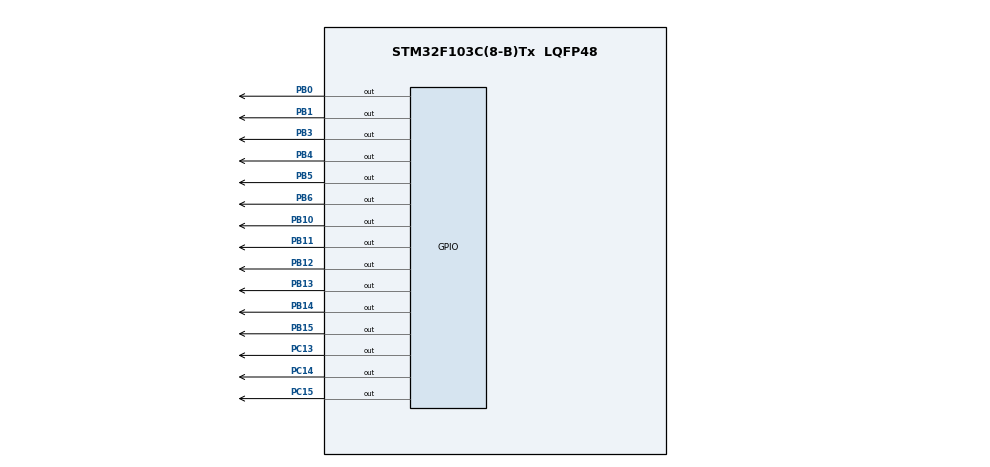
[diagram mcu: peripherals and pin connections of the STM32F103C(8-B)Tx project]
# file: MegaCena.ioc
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Mcu.Family=STM32F1
Mcu.Name=STM32F103C(8-B)Tx
Mcu.Package=LQFP48
NVIC.PriorityGroup=NVIC_PRIORITYGROUP_4
PA13.Mode=Serial_Wire
PA13.Signal=SYS_JTMS-SWDIO
PA14.Mode=Serial_Wire
PA14.Signal=SYS_JTCK-SWCLK
PB0.Signal=GPIO_Output
PB1.Signal=GPIO_Output
PB10.Signal=GPIO_Output
PB11.Signal=GPIO_Output
PB12.Signal=GPIO_Output
PB13.Signal=GPIO_Output
PB14.Signal=GPIO_Output
PB15.Signal=GPIO_Output
PB3.Signal=GPIO_Output
PB4.Signal=GPIO_Output
PB5.Signal=GPIO_Output
PB6.Signal=GPIO_Output
PC13-TAMPER-RTC.Signal=GPIO_Output
PC14-OSC32_IN.Signal=GPIO_Output
PC15-OSC32_OUT.Signal=GPIO_Output
ProjectManager.HeapSize=0x200
ProjectManager.StackSize=0x400
ProjectManager.TargetToolchain=STM32CubeIDE
RCC.APB1Freq_Value=8000000
RCC.APB2Freq_Value=8000000
board=custom

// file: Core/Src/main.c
/* USER CODE BEGIN Header */
/**
  ******************************************************************************
  * @file           : main.c
  * @brief          : Main program body
  ******************************************************************************
  * @attention
  *
  * <h2><center>&copy; Copyright (c) 2023 STMicroelectronics.
  * All rights reserved.</center></h2>
  *
  * This software component is licensed by ST under BSD 3-Clause license,
  * the "License"; You may not use this file except in compliance with the
  * License. You may obtain a copy of the License at:
  *                        opensource.org/licenses/BSD-3-Clause
  *
  ******************************************************************************
  */
/* USER CODE END Header */
#include "main.h"

/* USER CODE BEGIN PM */
#define G1G GPIO_PIN_5
#define G1F GPIO_PIN_6
#define G1A GPIO_PIN_4
#define G1B GPIO_PIN_3
#define G1E GPIO_PIN_14
#define G1D GPIO_PIN_15
#define G1C GPIO_PIN_0
//pinos 2
#define G2G GPIO_PIN_5
#define G2F GPIO_PIN_6
#define G2A GPIO_PIN_4
#define G2B GPIO_PIN_3
#define G2E GPIO_PIN_14
#define G2D GPIO_PIN_15
#define G2C GPIO_PIN_0
/* USER CODE END PM */

void SystemClock_Config(void);
static void MX_GPIO_Init(void);

int main(void)
{

  /* MCU Configuration--------------------------------------------------------*/

  /* Reset of all peripherals, Initializes the Flash interface and the Systick. */
  HAL_Init();

  /* Configure the system clock */
  SystemClock_Config();

  /* Initialize all configured peripherals */
  MX_GPIO_Init();

  /* Infinite loop */
  /* USER CODE BEGIN WHILE */
  int SorteioReal[60]={1,2,3,4,5,6,7,8,9,10,11,12,13,14,15,16,17,18,19,20,21,22,23,24,25,26,27,28,29,30,31,32,33,34,35,36,37,38,39,40,41,42,43,44,45,46,47,48,49,50,51,52,52,53,54,56,57,58,59,60};
   int sortear6vezes =6;
   int diminui_indice = 60;

   while (sortear6vezes>0)
   {
 	  int num = rand();
 	 	  int sorteado = num%diminui_indice;
 	  for(int i = sorteado;i<diminui_indice; i++){
 		  SorteioReal[i] = SorteioReal[i++];

 	  }
 	  printf(sorteado);
 	  	int NumeroDisplay = 0;
 	  	NumeroDisplay = SorteioReal[sorteado];
 	  	int unidade = NumeroDisplay%10;
 	  	int dezena = NumeroDisplay/10;
 	  	Mostra_NumeroD(dezena);
 	  	Mostra_NumeroU(unidade);
 	  	HAL_Delay(1500);
 	  	diminui_indice --;
 	  	sortear6vezes--;

   }

    /* USER CODE END WHILE */

//Mostra_NumeroU(1);
//HAL_Delay(1000);
//Mostra_NumeroU(2);
//Mostra_NumeroD(0);
//HAL_Delay(1000);
//Mostra_NumeroU(3);
//Mostra_NumeroD(0);
//HAL_Delay(1000);

}

void SystemClock_Config(void)
{
  RCC_OscInitTypeDef RCC_OscInitStruct = {0};
  RCC_ClkInitTypeDef RCC_ClkInitStruct = {0};

  /** Initializes the RCC Oscillators according to the specified parameters
  * in the RCC_OscInitTypeDef structure.
  */
  RCC_OscInitStruct.OscillatorType = RCC_OSCILLATORTYPE_HSI;
  RCC_OscInitStruct.HSIState = RCC_HSI_ON;
  RCC_OscInitStruct.HSICalibrationValue = RCC_HSICALIBRATION_DEFAULT;
  RCC_OscInitStruct.PLL.PLLState = RCC_PLL_NONE;
  if (HAL_RCC_OscConfig(&RCC_OscInitStruct) != HAL_OK)
  {
    Error_Handler();
  }
  /** Initializes the CPU, AHB and APB buses clocks
  */
  RCC_ClkInitStruct.ClockType = RCC_CLOCKTYPE_HCLK|RCC_CLOCKTYPE_SYSCLK
                              |RCC_CLOCKTYPE_PCLK1|RCC_CLOCKTYPE_PCLK2;
  RCC_ClkInitStruct.SYSCLKSource = RCC_SYSCLKSOURCE_HSI;
  RCC_ClkInitStruct.AHBCLKDivider = RCC_SYSCLK_DIV1;
  RCC_ClkInitStruct.APB1CLKDivider = RCC_HCLK_DIV1;
  RCC_ClkInitStruct.APB2CLKDivider = RCC_HCLK_DIV1;

  if (HAL_RCC_ClockConfig(&RCC_ClkInitStruct, FLASH_LATENCY_0) != HAL_OK)
  {
    Error_Handler();
  }
}

static void MX_GPIO_Init(void)
{
  GPIO_InitTypeDef GPIO_InitStruct = {0};

  /* GPIO Ports Clock Enable */
  __HAL_RCC_GPIOC_CLK_ENABLE();
  __HAL_RCC_GPIOB_CLK_ENABLE();
  __HAL_RCC_GPIOA_CLK_ENABLE();

  /*Configure GPIO pin Output Level */
  HAL_GPIO_WritePin(GPIOC, GPIO_PIN_13|GPIO_PIN_14|GPIO_PIN_15, GPIO_PIN_RESET);

  /*Configure GPIO pin Output Level */
  HAL_GPIO_WritePin(GPIOB, GPIO_PIN_0|GPIO_PIN_1|GPIO_PIN_10|GPIO_PIN_11
                          |GPIO_PIN_12|GPIO_PIN_13|GPIO_PIN_14|GPIO_PIN_15
                          |GPIO_PIN_3|GPIO_PIN_4|GPIO_PIN_5|GPIO_PIN_6, GPIO_PIN_RESET);

  /*Configure GPIO pins : PC13 PC14 PC15 */
  GPIO_InitStruct.Pin = GPIO_PIN_13|GPIO_PIN_14|GPIO_PIN_15;
  GPIO_InitStruct.Mode = GPIO_MODE_OUTPUT_PP;
  GPIO_InitStruct.Pull = GPIO_NOPULL;
  GPIO_InitStruct.Speed = GPIO_SPEED_FREQ_LOW;
  HAL_GPIO_Init(GPIOC, &GPIO_InitStruct);

  /*Configure GPIO pins : PB0 PB1 PB10 PB11
                           PB12 PB13 PB14 PB15
                           PB3 PB4 PB5 PB6 */
  GPIO_InitStruct.Pin = GPIO_PIN_0|GPIO_PIN_1|GPIO_PIN_10|GPIO_PIN_11
                          |GPIO_PIN_12|GPIO_PIN_13|GPIO_PIN_14|GPIO_PIN_15
                          |GPIO_PIN_3|GPIO_PIN_4|GPIO_PIN_5|GPIO_PIN_6;
  GPIO_InitStruct.Mode = GPIO_MODE_OUTPUT_PP;
  GPIO_InitStruct.Pull = GPIO_NOPULL;
  GPIO_InitStruct.Speed = GPIO_SPEED_FREQ_LOW;
  HAL_GPIO_Init(GPIOB, &GPIO_InitStruct);

}

/* USER CODE BEGIN 4 */

void Mostra_NumeroD(int n)
{
	switch(n)
	{
	case 1:
		HAL_GPIO_WritePin(GPIOB, GPIO_PIN_12, 1); //g
		HAL_GPIO_WritePin(GPIOB, GPIO_PIN_13, 1); //f
		HAL_GPIO_WritePin(GPIOB, GPIO_PIN_14, 1);  //a
		HAL_GPIO_WritePin(GPIOB, GPIO_PIN_15, 0); // b
		HAL_GPIO_WritePin(GPIOB, GPIO_PIN_1, 1);  //e
		HAL_GPIO_WritePin(GPIOB, GPIO_PIN_10, 1); //d
		HAL_GPIO_WritePin(GPIOB, GPIO_PIN_11, 0); //c
		break;
	case 2:
				HAL_GPIO_WritePin(GPIOB, GPIO_PIN_12, 0); //g
				HAL_GPIO_WritePin(GPIOB, GPIO_PIN_13, 1); //f
				HAL_GPIO_WritePin(GPIOB, GPIO_PIN_14, 0);  //a
				HAL_GPIO_WritePin(GPIOB, GPIO_PIN_15, 0); // b
				HAL_GPIO_WritePin(GPIOB, GPIO_PIN_1, 0);  //e
				HAL_GPIO_WritePin(GPIOB, GPIO_PIN_10, 0); //d
				HAL_GPIO_WritePin(GPIOB, GPIO_PIN_11, 1); //c
		break;
	case 3:
				HAL_GPIO_WritePin(GPIOB, GPIO_PIN_12, 0); //g
				HAL_GPIO_WritePin(GPIOB, GPIO_PIN_13, 1); //f
				HAL_GPIO_WritePin(GPIOB, GPIO_PIN_14, 0);  //a
				HAL_GPIO_WritePin(GPIOB, GPIO_PIN_15, 0); // b
				HAL_GPIO_WritePin(GPIOB, GPIO_PIN_1, 1);  //e
				HAL_GPIO_WritePin(GPIOB, GPIO_PIN_10, 0); //d
				HAL_GPIO_WritePin(GPIOB, GPIO_PIN_11, 0); //c
		break;
	case 4:
				HAL_GPIO_WritePin(GPIOB, GPIO_PIN_12, 0); //g
				HAL_GPIO_WritePin(GPIOB, GPIO_PIN_13, 0); //f
				HAL_GPIO_WritePin(GPIOB, GPIO_PIN_14, 1);  //a
				HAL_GPIO_WritePin(GPIOB, GPIO_PIN_15, 0); // b
				HAL_GPIO_WritePin(GPIOB, GPIO_PIN_1, 1);  //e
				HAL_GPIO_WritePin(GPIOB, GPIO_PIN_10, 1); //d
				HAL_GPIO_WritePin(GPIOB, GPIO_PIN_11, 0); //c
		break;
	case 5:
				HAL_GPIO_WritePin(GPIOB, GPIO_PIN_12, 0); //g
				HAL_GPIO_WritePin(GPIOB, GPIO_PIN_13, 0); //f
				HAL_GPIO_WritePin(GPIOB, GPIO_PIN_14, 0);  //a
				HAL_GPIO_WritePin(GPIOB, GPIO_PIN_15, 1); // b
				HAL_GPIO_WritePin(GPIOB, GPIO_PIN_1, 1);  //e
				HAL_GPIO_WritePin(GPIOB, GPIO_PIN_10, 0); //d
				HAL_GPIO_WritePin(GPIOB, GPIO_PIN_11, 0); //c
		break;
	case 6:
				HAL_GPIO_WritePin(GPIOB, GPIO_PIN_12, 0); //g
				HAL_GPIO_WritePin(GPIOB, GPIO_PIN_13, 0); //f
				HAL_GPIO_WritePin(GPIOB, GPIO_PIN_14, 0);  //a
				HAL_GPIO_WritePin(GPIOB, GPIO_PIN_15, 1); // b
				HAL_GPIO_WritePin(GPIOB, GPIO_PIN_1, 0);  //e
				HAL_GPIO_WritePin(GPIOB, GPIO_PIN_10, 0); //d
				HAL_GPIO_WritePin(GPIOB, GPIO_PIN_11, 0); //c
		break;
	case 7:
				HAL_GPIO_WritePin(GPIOB, GPIO_PIN_12, 1); //g
				HAL_GPIO_WritePin(GPIOB, GPIO_PIN_13, 1); //f
				HAL_GPIO_WritePin(GPIOB, GPIO_PIN_14, 0);  //a
				HAL_GPIO_WritePin(GPIOB, GPIO_PIN_15, 0); // b
				HAL_GPIO_WritePin(GPIOB, GPIO_PIN_1, 1);  //e
				HAL_GPIO_WritePin(GPIOB, GPIO_PIN_10, 1); //d
				HAL_GPIO_WritePin(GPIOB, GPIO_PIN_11, 0); //c
			break;
	case 8:
				HAL_GPIO_WritePin(GPIOB, GPIO_PIN_12, 0); //g
				HAL_GPIO_WritePin(GPIOB, GPIO_PIN_13, 0); //f
				HAL_GPIO_WritePin(GPIOB, GPIO_PIN_14, 0);  //a
				HAL_GPIO_WritePin(GPIOB, GPIO_PIN_15, 0); // b
				HAL_GPIO_WritePin(GPIOB, GPIO_PIN_1, 0);  //e
				HAL_GPIO_WritePin(GPIOB, GPIO_PIN_10, 0); //d
				HAL_GPIO_WritePin(GPIOB, GPIO_PIN_11, 0); //c
			break;
	case 9:
				HAL_GPIO_WritePin(GPIOB, GPIO_PIN_12, 0); //g
				HAL_GPIO_WritePin(GPIOB, GPIO_PIN_13, 0); //f
				HAL_GPIO_WritePin(GPIOB, GPIO_PIN_14, 0);  //a
				HAL_GPIO_WritePin(GPIOB, GPIO_PIN_15, 0); // b
				HAL_GPIO_WritePin(GPIOB, GPIO_PIN_1, 1);  //e
				HAL_GPIO_WritePin(GPIOB, GPIO_PIN_10, 0); //d
				HAL_GPIO_WritePin(GPIOB, GPIO_PIN_11, 0); //c
			break;
	case 0:
				HAL_GPIO_WritePin(GPIOB, GPIO_PIN_12, 1); //g
				HAL_GPIO_WritePin(GPIOB, GPIO_PIN_13, 0); //f
				HAL_GPIO_WritePin(GPIOB, GPIO_PIN_14, 0);  //a
				HAL_GPIO_WritePin(GPIOB, GPIO_PIN_15, 0); // b
				HAL_GPIO_WritePin(GPIOB, GPIO_PIN_1, 0);  //e
				HAL_GPIO_WritePin(GPIOB, GPIO_PIN_10, 0); //d
				HAL_GPIO_WritePin(GPIOB, GPIO_PIN_11, 0); //c
			break;
	}
}

void Mostra_NumeroU(int a)
{
	switch(a)
	{
	case 1:
		HAL_GPIO_WritePin(GPIOB, G1G, 1); //g
		HAL_GPIO_WritePin(GPIOB, G1F, 1); //f
		HAL_GPIO_WritePin(GPIOB, G1A, 1);  //a
		HAL_GPIO_WritePin(GPIOB, G1B, 0); // b
		HAL_GPIO_WritePin(GPIOC, G1E, 1);  //e
		HAL_GPIO_WritePin(GPIOC, G1D, 1); //d
		HAL_GPIO_WritePin(GPIOB, G1C, 0); //c
		break;
	case 2:
				HAL_GPIO_WritePin(GPIOB, GPIO_PIN_5, 0); //g
				HAL_GPIO_WritePin(GPIOB, GPIO_PIN_6, 1); //f
				HAL_GPIO_WritePin(GPIOB, GPIO_PIN_4, 0);  //a
				HAL_GPIO_WritePin(GPIOB, GPIO_PIN_3, 0); // b
				HAL_GPIO_WritePin(GPIOC, GPIO_PIN_14, 0);  //e
				HAL_GPIO_WritePin(GPIOC, GPIO_PIN_15, 0); //d
				HAL_GPIO_WritePin(GPIOB, GPIO_PIN_0, 1); //c
		break;
	case 3:
				HAL_GPIO_WritePin(GPIOB, GPIO_PIN_5, 0); //g
				HAL_GPIO_WritePin(GPIOB, GPIO_PIN_6, 1); //f
				HAL_GPIO_WritePin(GPIOB, GPIO_PIN_4, 0);  //a
				HAL_GPIO_WritePin(GPIOB, GPIO_PIN_3, 0); // b
				HAL_GPIO_WritePin(GPIOC, GPIO_PIN_14, 1);  //e
				HAL_GPIO_WritePin(GPIOC, GPIO_PIN_15, 0); //d
				HAL_GPIO_WritePin(GPIOB, GPIO_PIN_0, 0); //c
		break;
	case 4:
				HAL_GPIO_WritePin(GPIOB, GPIO_PIN_5, 0); //g
				HAL_GPIO_WritePin(GPIOB, GPIO_PIN_6, 0); //f
				HAL_GPIO_WritePin(GPIOB, GPIO_PIN_4, 1);  //a
				HAL_GPIO_WritePin(GPIOB, GPIO_PIN_3, 0); // b
				HAL_GPIO_WritePin(GPIOC, GPIO_PIN_14, 1);  //e
				HAL_GPIO_WritePin(GPIOC, GPIO_PIN_15, 1); //d
				HAL_GPIO_WritePin(GPIOB, GPIO_PIN_0, 0); //c
		break;
	case 5:
				HAL_GPIO_WritePin(GPIOB, GPIO_PIN_5, 0); //g
				HAL_GPIO_WritePin(GPIOB, GPIO_PIN_6, 0); //f
				HAL_GPIO_WritePin(GPIOB, GPIO_PIN_4, 0);  //a
				HAL_GPIO_WritePin(GPIOB, GPIO_PIN_3, 1); // b
				HAL_GPIO_WritePin(GPIOC, GPIO_PIN_14, 1);  //e
				HAL_GPIO_WritePin(GPIOC, GPIO_PIN_15, 0); //d
				HAL_GPIO_WritePin(GPIOB, GPIO_PIN_0, 0); //c
		break;
	case 6:
				HAL_GPIO_WritePin(GPIOB, GPIO_PIN_5, 0); //g
				HAL_GPIO_WritePin(GPIOB, GPIO_PIN_6, 0); //f
				HAL_GPIO_WritePin(GPIOB, GPIO_PIN_4, 0);  //a
				HAL_GPIO_WritePin(GPIOB, GPIO_PIN_3, 1); // b
				HAL_GPIO_WritePin(GPIOC, GPIO_PIN_15, 0);  //e
				HAL_GPIO_WritePin(GPIOC, GPIO_PIN_14, 0); //d
				HAL_GPIO_WritePin(GPIOB, GPIO_PIN_0, 0); //c
		break;
	case 7:
				HAL_GPIO_WritePin(GPIOB, GPIO_PIN_5, 1); //g
				HAL_GPIO_WritePin(GPIOB, GPIO_PIN_6, 1); //f
				HAL_GPIO_WritePin(GPIOB, GPIO_PIN_4, 0);  //a
				HAL_GPIO_WritePin(GPIOB, GPIO_PIN_3, 0); // b
				HAL_GPIO_WritePin(GPIOC, GPIO_PIN_15, 1);  //e
				HAL_GPIO_WritePin(GPIOC, GPIO_PIN_14, 1); //d
				HAL_GPIO_WritePin(GPIOB, GPIO_PIN_0, 0); //c
			break;
	case 8:
				HAL_GPIO_WritePin(GPIOB, GPIO_PIN_5, 0); //g
				HAL_GPIO_WritePin(GPIOB, GPIO_PIN_6, 0); //f
				HAL_GPIO_WritePin(GPIOB, GPIO_PIN_4, 0);  //a
				HAL_GPIO_WritePin(GPIOB, GPIO_PIN_3, 0); // b
				HAL_GPIO_WritePin(GPIOC, GPIO_PIN_15, 0);  //e
				HAL_GPIO_WritePin(GPIOC, GPIO_PIN_14, 0); //d
				HAL_GPIO_WritePin(GPIOB, GPIO_PIN_0, 0); //c
			break;
	case 9:
				HAL_GPIO_WritePin(GPIOB, GPIO_PIN_5, 0); //g
				HAL_GPIO_WritePin(GPIOB, GPIO_PIN_6, 0); //f
				HAL_GPIO_WritePin(GPIOB, GPIO_PIN_4, 0);  //a
				HAL_GPIO_WritePin(GPIOB, GPIO_PIN_3, 0); // b
				HAL_GPIO_WritePin(GPIOC, GPIO_PIN_15, 1);  //e
				HAL_GPIO_WritePin(GPIOC, GPIO_PIN_14, 0); //d
				HAL_GPIO_WritePin(GPIOB, GPIO_PIN_0, 0); //c
			break;
	case 0:
				HAL_GPIO_WritePin(GPIOB, GPIO_PIN_5, 1); //g
				HAL_GPIO_WritePin(GPIOB, GPIO_PIN_6, 0); //f
				HAL_GPIO_WritePin(GPIOB, GPIO_PIN_4, 0);  //a
				HAL_GPIO_WritePin(GPIOB, GPIO_PIN_3, 0); // b
				HAL_GPIO_WritePin(GPIOC, GPIO_PIN_15, 0);  //e
				HAL_GPIO_WritePin(GPIOC, GPIO_PIN_14, 0); //d
				HAL_GPIO_WritePin(GPIOB, GPIO_PIN_0, 0); //c
			break;
	}
}

/* USER CODE END 4 */

void Error_Handler(void)
{
  __disable_irq();
  while (1)
  {
  }
}

/************************ (C) COPYRIGHT STMicroelectronics *****END OF FILE****/
